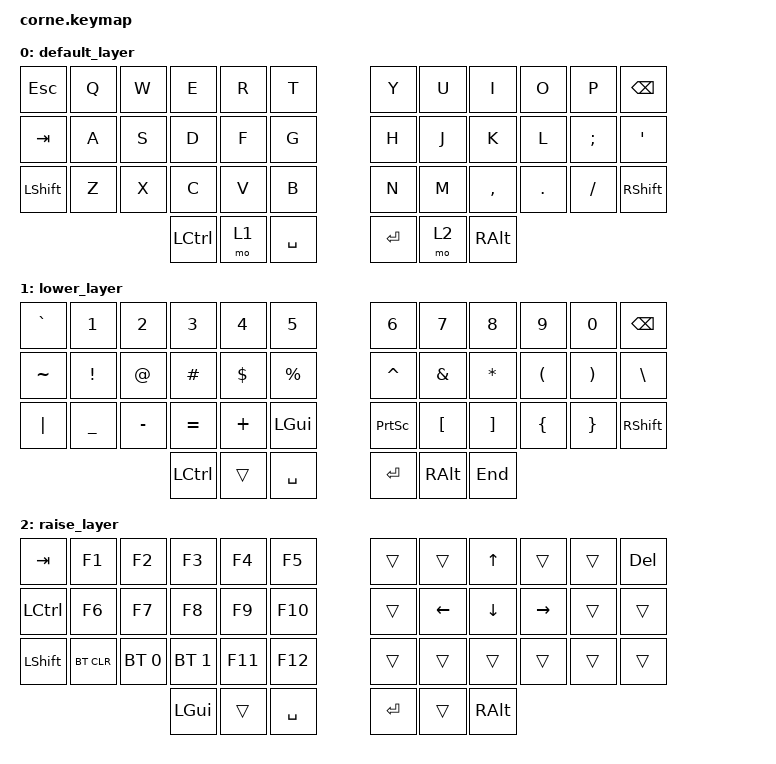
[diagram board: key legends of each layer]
// ORIGINAL DEFAULT LAYOUT
/*
 * Copyright (c) 2020 The ZMK Contributors
 *
 * SPDX-License-Identifier: MIT
 */

#include <behaviors.dtsi>
#include <dt-bindings/zmk/keys.h>
#include <dt-bindings/zmk/bt.h>

/ {
keymap {
compatible = "zmk,keymap";

default_layer {
// -----------------------------------------------------------------------------------------
// |  ESC |  Q  |  W  |  E  |  R  |  T  |   |  Y  |  U   |  I  |  O  |  P  | BSPC |
// | TAB  |  A  |  S  |  D  |  F  |  G  |   |  H  |  J   |  K  |  L  |  ;  |  '   |
// | SHFT |  Z  |  X  |  C  |  V  |  B  |   |  N  |  M   |  ,  |  .  |  /  | SHFT |
//                    | CTRL| LWR | SPC |   | ENT | RSE  | ALT |
bindings = <
&kp ESC &kp Q &kp W &kp E &kp R &kp T   &kp Y &kp U  &kp I     &kp O   &kp P    &kp BSPC
&kp TAB &kp A &kp S &kp D &kp F &kp G   &kp H &kp J  &kp K     &kp L   &kp SEMI &kp SQT
&kp LSHFT &kp Z &kp X &kp C &kp V &kp B   &kp N &kp M  &kp COMMA &kp DOT &kp FSLH &kp RSHFT
&kp LCTRL &mo 1 &kp SPACE   &kp RET &mo 2 &kp RALT
>;
};
lower_layer {
// -----------------------------------------------------------------------------------------
// |   `  |  1  |  2  |  3  |  4  |  5  |   |    6   |  7  |  8  |  9  |  0  |  BSPC   |
// |   ~  |  !  |  @  |  #  |  $  |  %  |   |    ^   |  &  |  *  |  (  |  )  | BcklASH |
// |   |  |  _  |  -  |  =  |  +  | GUI |   | PRTSCR |  [  |  ]  |  {  |  }  |  SHFT   |
//                    | CTRL|     | SPC |   | ENT | ALT | END |
bindings = <
&kp GRAVE  &kp N1    &kp N2    &kp N3    &kp N4   &kp N5      &kp N6    &kp N7    &kp N8    &kp N9    &kp N0    &kp BSPC
&kp TILDE  &kp EXCL  &kp AT    &kp HASH  &kp DLLR &kp PRCNT   &kp CARET &kp AMPS  &kp ASTRK &kp LPAR  &kp RPAR  &kp BSLH
&kp PIPE  &kp UNDER  &kp MINUS  &kp EQUAL &kp PLUS  &kp LGUI  &kp PSCRN   &kp LBKT   &kp RBKT &kp LBRC &kp RBRC &kp RSHIFT
        &kp LCTRL     &trans       &kp SPACE      &kp ENTER  &kp RALT   &kp END
>;
};

raise_layer {
// -----------------------------------------------------------------------------------------
// |  TAB |   F1  |  F2  |  F3  |  F4  |  F5  |   |    |      |  Up  |       |     |  del |
// | CTRL |   F6  |  F7  |  F8  |  F9  |  F10 |   |    | Left | Down | Right |     |      |
// | SHFT | BTclr | BT1  | BT2  | F11  | F12  |   |    |      |      |       |     |      |
//                          | GUI |     | SPC |   | ENT |     | ALT |
bindings = <
&kp  TAB  &kp F1     &kp F2       &kp F3       &kp F4   &kp F5       &trans &trans   &kp UP     &trans    &trans  &kp DEL
&kp LCTRL &kp F6     &kp F7       &kp F8       &kp F9   &kp F10      &trans &kp LEFT &kp DOWN   &kp RIGHT &trans  &trans
&kp LSHFT &bt BT_CLR &bt BT_SEL 0 &bt BT_SEL 1 &kp F11  &kp F12      &trans &trans   &trans     &trans    &trans  &trans
                                    &kp LGUI &trans   &kp SPACE   &kp RET   &trans    &kp RALT
>;
};
};
};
